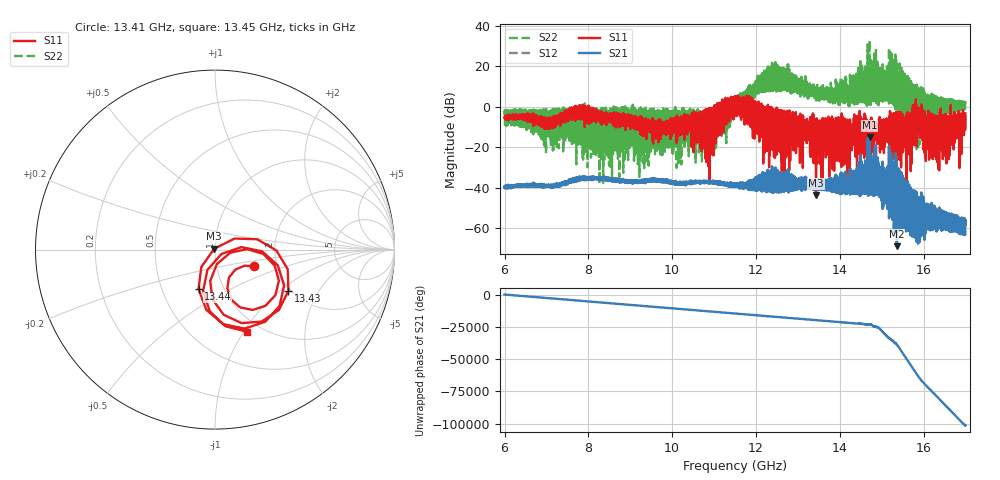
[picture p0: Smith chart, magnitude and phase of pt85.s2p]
#  HZ  S  RI  R  50.00
! Rohde & Schwarz Vector Network Analyzer
! Rohde-Schwarz,ZNA67-2Port,1332450062101215,3.01
! Created: UTC 10/19/2026, 10:19:04 AM
! freq[Hz]  re:S11  im:S11  re:S21  im:S21  re:S12  im:S12  re:S22  im:S22
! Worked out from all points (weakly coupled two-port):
!   11001 points, 6 GHz to 17 GHz, reference 50 ohm
!   highest |S21| = -15.10 dB at 14.71 GHz (marker M1); lowest = -69.0 dB at 15.37 GHz (marker M2)
!   lowest |S11| = -43.9 dB at 13.43 GHz (marker M3), VSWR 1.01, Z = 49.6 + j0.484 ohm
!   |S11| at or under -10 dB: 13.46848 GHz to 13.49534 GHz (26.86 MHz wide, 0.199 % of centre); 13.60872 GHz to 13.64552 GHz (36.81 MHz wide, 0.27 % of centre); 13.68811 GHz to 13.71546 GHz (27.35 MHz wide, 0.2 % of centre) (the widest 3 of 544)
!   |S22| runs from -38.5 to 32.9 dB; largest |S21 - S12| = 0.0068
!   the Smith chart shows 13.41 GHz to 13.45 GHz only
!   S11 on the Smith chart (normalised r, x): 13.41 GHz: 1.52, -0.30; 13.43 GHz: 1.94, -1.14; 13.44 GHz: 0.76, -0.36; 13.45 GHz: 0.86, -1.03
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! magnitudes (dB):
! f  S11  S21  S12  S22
! 6 GHz  -5.6  -39.5  -39.5  -4.3
! 7.044 GHz  -6.0  -39.2  -39.2  -5.2
! 7.834 GHz  -3.7  -35.6  -35.4  -1.3
! 9.667 GHz  -6.5  -36.6  -36.8  -2.5
! 10.46 GHz  -13.4  -36.5  -36.6  -16.6
! 10.83 GHz  -1.6  -37.6  -37.6  -4.9
! 11.5 GHz  5.1  -38.1  -38.1  -1.4
! 12.43 GHz  -1.6  -39.8  -39.8  10.0
! 13.33 GHz  -11.9  -39.0  -39.0  7.8
! 13.41 GHz  -12.5  -39.4  -39.3  6.5
! 13.43 GHz  -6.6  -40.3  -40.2  4.5
! 13.43 GHz  -43.9  -38.1  -38.1  4.4
! 13.44 GHz  -12.4  -39.7  -39.6  3.8
! 13.45 GHz  -6.2  -39.8  -39.8  6.2
! 14.71 GHz  -10.1  -15.1  -15.0  32.9
! 15.17 GHz  -14.0  -45.0  -44.9  6.7
! 15.37 GHz  -22.4  -69.0  -68.8  -0.2
! 15.68 GHz  -4.2  -45.1  -45.0  7.2
! 15.78 GHz  -11.1  -42.7  -42.8  10.4
! 16.05 GHz  -8.0  -49.2  -49.2  4.5
! 16.57 GHz  -4.4  -59.4  -59.2  -2.5
! 17 GHz  -3.2  -58.2  -58.3  1.7
